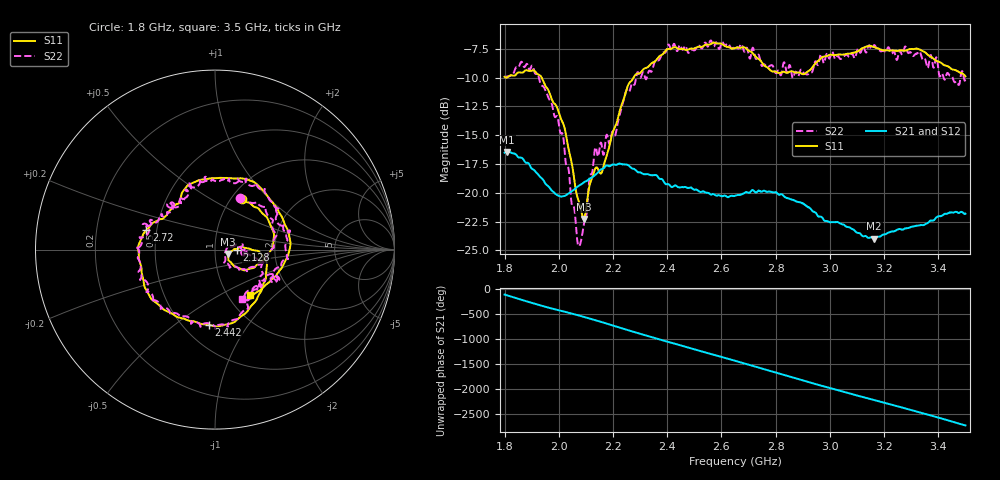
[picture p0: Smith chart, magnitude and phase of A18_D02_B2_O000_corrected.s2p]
! Created with skrf 1.9.0 (http://scikit-rf.org).
# Hz S RI R 50.0
!freq ReS11 ImS11 ReS21 ImS21 ReS12 ImS12 ReS22 ImS22
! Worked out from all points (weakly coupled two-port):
!   1601 points, 1.8 GHz to 3.5 GHz, reference 50 ohm
!   highest |S21| = -16.45 dB at 1.81 GHz (marker M1); lowest = -24.0 dB at 3.163 GHz (marker M2)
!   lowest |S11| = -22.3 dB at 2.091 GHz (marker M3), VSWR 1.17, Z = 57.8 - j2.76 ohm
!   |S11| at or under -10 dB: 1.804153 GHz to 1.808322 GHz (4.168 MHz wide, 0.231 % of centre); 1.937 GHz to 2.276 GHz (339.3 MHz wide, 16.1 % of centre)
!   |S22| runs from -24.6 to -6.8 dB; largest |S21 - S12| = 0.0025
!   S11 on the Smith chart (normalised r, x): 1.8 GHz: 1.12, +0.70; 2.128 GHz: 1.28, -0.00; 2.442 GHz: 0.66, -0.68; 2.72 GHz: 0.44, +0.11; 3.5 GHz: 1.26, -0.71
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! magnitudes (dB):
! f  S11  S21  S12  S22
! 1.8 GHz  -9.9  -16.5  -16.5  -10.0
! 1.81 GHz  -10.0  -16.4  -16.5  -9.9
! 1.864 GHz  -9.6  -17.0  -17.0  -8.7
! 1.952 GHz  -10.8  -19.2  -19.2  -11.2
! 2.019 GHz  -14.2  -20.3  -20.3  -15.6
! 2.07 GHz  -20.5  -19.5  -19.5  -24.4
! 2.084 GHz  -21.7  -19.3  -19.2  -24.0
! 2.091 GHz  -22.3  -19.1  -19.2  -22.9
! 2.128 GHz  -18.3  -18.6  -18.6  -17.2
! 2.161 GHz  -18.0  -17.9  -17.8  -16.3
! 2.209 GHz  -14.2  -17.6  -17.5  -14.9
! 2.259 GHz  -10.5  -17.7  -17.7  -11.2
! 2.367 GHz  -8.2  -18.7  -18.6  -8.5
! 2.442 GHz  -7.5  -19.5  -19.5  -7.4
! 2.65 GHz  -7.4  -20.3  -20.2  -7.3
! 2.72 GHz  -8.0  -19.8  -19.8  -7.7
! 2.808 GHz  -9.6  -20.1  -20.0  -9.4
! 2.934 GHz  -9.2  -21.5  -21.5  -9.5
! 3.163 GHz  -7.4  -24.0  -23.9  -7.2
! 3.217 GHz  -7.7  -23.4  -23.4  -7.4
! 3.327 GHz  -7.5  -22.8  -22.8  -7.8
! 3.5 GHz  -9.9  -21.8  -21.8  -10.1
